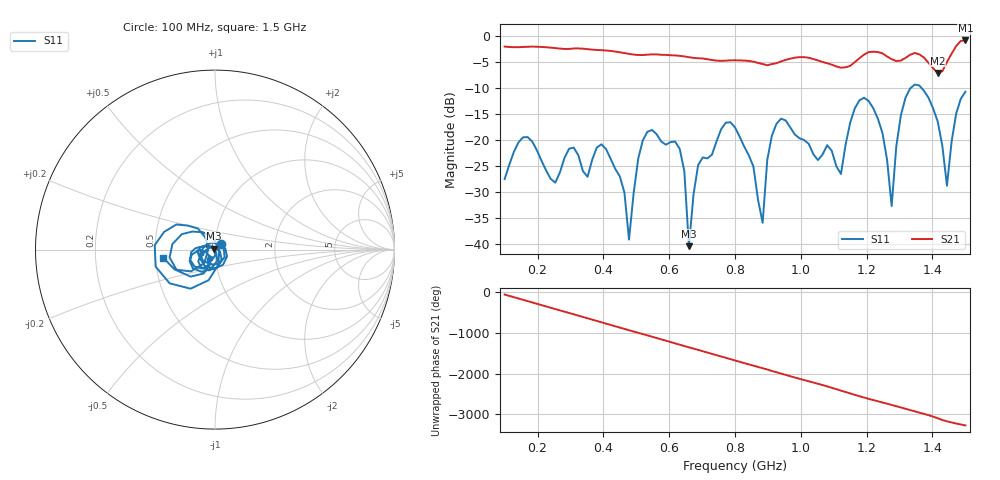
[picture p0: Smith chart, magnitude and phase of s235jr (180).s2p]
! NanoVNA-App
! Date: 2025-09-25 15:05:34
! Start: 100MHz Stop: 1,5GHz Points: 101
! S-Parameter data: F S11 S21 S12 S22
# Hz S RI R 50
!  Frequency  S11_Real  S11_Imag  S21_Real  S21_Imag  S12_Real  S12_Imag  S22_Real  S22_Imag
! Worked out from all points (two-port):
!   101 points, 100 MHz to 1.5 GHz, reference 50 ohm
!   highest |S21| = -0.79 dB at 1.5 GHz (marker M1); lowest = -7.0 dB at 1.416 GHz (marker M2)
!   |S21| within 3 dB of the highest: start of sweep to 637 MHz; 1.187 GHz to 1.26 GHz (73.52 MHz wide, 6.01 % of centre) (the widest 2 of 4)
!   lowest |S11| = -40.4 dB at 660 MHz (marker M3), VSWR 1.02, Z = 49.2 + j0.541 ohm
!   |S11| at or under -10 dB: start of sweep to 1.333 GHz; 1.368 GHz to end of sweep
!   S12 and S22 are empty: the file has one direction only
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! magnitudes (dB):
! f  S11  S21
! 100 MHz  -27.5  -2.0
! 156 MHz  -19.4  -2.0
! 338 MHz  -25.9  -2.4
! 408 MHz  -21.7  -2.7
! 478 MHz  -39.1  -3.4
! 520 MHz  -20.0  -3.6
! 576 MHz  -20.2  -3.5
! 632 MHz  -21.6  -3.7
! 660 MHz  -40.4  -4.0
! 688 MHz  -24.8  -4.2
! 800 MHz  -17.5  -4.6
! 884 MHz  -35.9  -5.3
! 926 MHz  -16.8  -5.2
! 1.038 GHz  -22.7  -4.4
! 1.122 GHz  -26.5  -6.0
! 1.192 GHz  -11.8  -3.5
! 1.248 GHz  -18.6  -3.3
! 1.276 GHz  -32.6  -4.4
! 1.332 GHz  -10.0  -3.5
! 1.416 GHz  -16.4  -7.0
! 1.444 GHz  -28.7  -4.9
! 1.5 GHz  -10.7  -0.8
